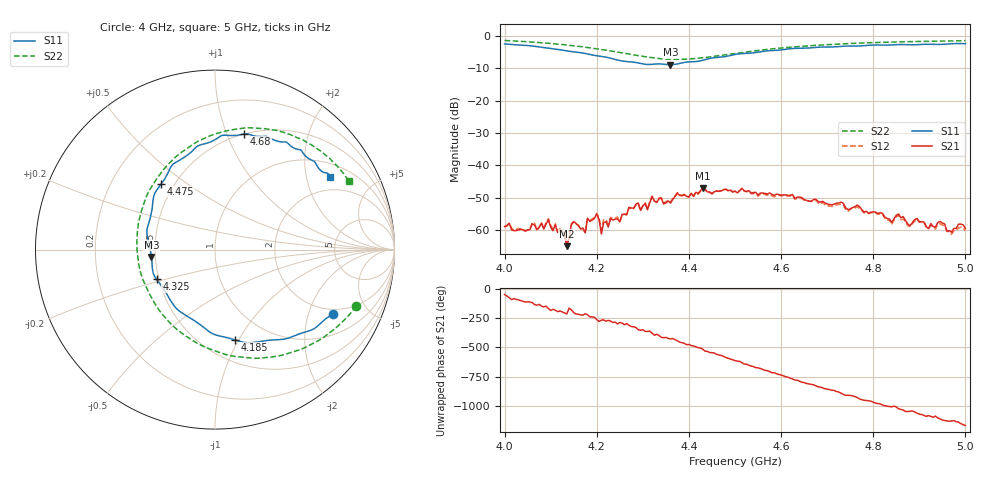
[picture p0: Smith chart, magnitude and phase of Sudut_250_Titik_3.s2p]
# Hz S RI R 50
! CMT, C1220, 16058040, 17.2.0/1
! Date: 15/08/2018 12:40:59
! Data: Format (Calibration Info)
! Freq  S11: Re/Im (F2)  S21: Re/Im (F2)  S12: Re/Im (F2)  S22: Re/Im (F2)
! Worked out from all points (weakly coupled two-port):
!   201 points, 4 GHz to 5 GHz, reference 50 ohm
!   highest |S21| = -47.07 dB at 4.43 GHz (marker M1); lowest = -65.0 dB at 4.135 GHz (marker M2)
!   lowest |S11| = -9.0 dB at 4.36 GHz (marker M3), VSWR 2.11, Z = 23.8 - j2.26 ohm
!   |S11| at or under -10 dB: nowhere
!   |S22| runs from -7.3 to -1.4 dB; largest |S21 - S12| = 0.00022
!   S11 on the Smith chart (normalised r, x): 4 GHz: 1.78, -2.90; 4.185 GHz: 0.70, -0.96; 4.325 GHz: 0.49, -0.19; 4.475 GHz: 0.43, +0.40; 4.68 GHz: 0.50, +1.15; 5 GHz: 1.46, +2.75
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4e9  0.656 -0.3592  0.000711 -0.00088  0.000663 -0.000899  0.7862 -0.3133
4.085e9  0.4558 -0.4754  -0.000946 -0.000418  -0.000895 -0.000508  0.6008 -0.4921
4.095e9  0.4224 -0.4882  -0.00141 -0.000259  -0.00146 -0.000319  0.5725 -0.5091
4.13e9  0.3084 -0.504  -0.000743 0.000383  -0.00084 0.000417  0.4584 -0.5624
4.135e9  0.2899 -0.5066  -0.000454 0.000332  -0.000476 0.000357  0.4402 -0.5677
4.145e9  0.2499 -0.5116  -0.00125 3.77e-05  -0.0012 8.35e-05  0.4031 -0.5797
4.17e9  0.1596 -0.5168  -0.000747 0.000766  -0.000766 0.000709  0.3086 -0.5992
4.185e9  0.1106 -0.5023  -0.000663 0.00119  -0.000751 0.00117  0.2454 -0.6047
4.2e9  0.0552 -0.4879  -0.000161 0.00175  -0.000272 0.00178  0.181 -0.6024
4.21e9  0.0177 -0.4794  -3.3e-06 0.000866  -4.55e-05 0.00101  0.1371 -0.598
4.215e9  0.000152 -0.4742  -7.4e-05 0.00129  -0.000118 0.00144  0.1137 -0.5955
4.25e9  -0.1112 -0.3985  0.000427 0.00127  0.000534 0.00123  -0.0391 -0.5496
4.325e9  -0.3254 -0.1657  0.00222 -0.00169  0.00227 -0.00166  -0.3257 -0.3161
4.335e9  -0.3435 -0.1336  0.00236 -0.00192  0.00244 -0.00196  -0.3513 -0.272
4.36e9  -0.3541 -0.0414  0.000921 -0.00244  0.000967 -0.00253  -0.4061 -0.1557
4.43e9  -0.3498 0.2288  -0.00407 -0.00176  -0.00402 -0.00177  -0.4169 0.1878
4.475e9  -0.299 0.3673  -0.00332 0.00254  -0.0033 0.0026  -0.3387 0.3726
4.5e9  -0.2524 0.4482  -0.00111 0.00383  -0.00107 0.00381  -0.2797 0.4542
4.67e9  0.1443 0.6406  -0.000502 -0.00289  -0.000544 -0.00277  0.204 0.6782
4.68e9  0.1629 0.6447  -0.00128 -0.00247  -0.00125 -0.00234  0.231 0.6769
4.835e9  0.4476 0.5619  0.00038 0.00143  0.000365 0.00139  0.5494 0.5758
5e9  0.6381 0.4037  6.49e-05 -0.00106  0.000114 -0.000973  0.7456 0.3839
